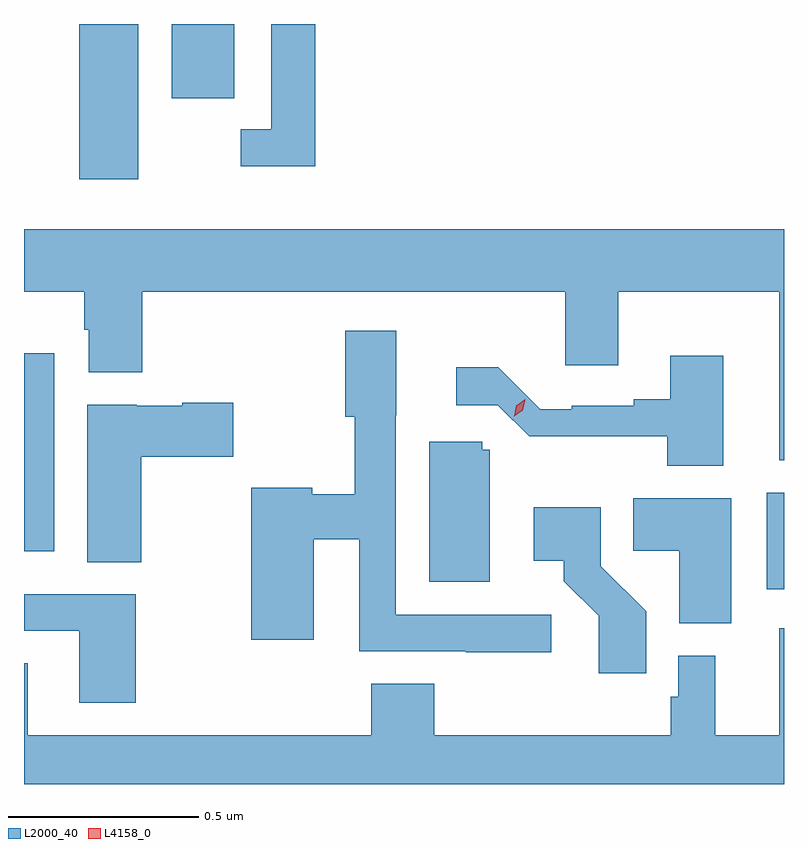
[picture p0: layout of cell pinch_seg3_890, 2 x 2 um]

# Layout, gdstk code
import gdstk
lib = gdstk.Library(unit=1e-6, precision=1e-09)
def R(c, l, rs):  # rectangles x0, y0, x1, y1
    for r in rs: c.add(gdstk.rectangle(r[:2], r[2:], *l))
def P(c, l, *ps):  # polygons
    for p in ps: c.add(gdstk.Polygon(p, *l))
L2000_40 = (2000, 40)
L4158_0 = (4158, 0)

pinch_seg3_890 = lib.new_cell('pinch_seg3_890')
R(pinch_seg3_890, L2000_40, [(661.976,686.813,662.021,687.067), (660.021,686.912,660.1,687.433), (660.167,687.891,660.322,688.3), (660.41,688.104,660.574,688.3)])
P(pinch_seg3_890, L2000_40, [(660.788,688.3),(660.672,688.3),(660.672,688.023),(660.591,688.023),(660.591,687.926),(660.788,687.926)],
  [(662.021,687.76),(660.021,687.76),(660.021,687.596),(660.179,687.596),(660.179,687.495),(660.191,687.495),(660.191,687.383),(660.332,687.383),(660.332,687.596),(661.445,687.596),(661.445,687.402),(661.585,687.402),(661.585,687.596),(662.009,687.596),(662.009,687.152),(662.021,687.152)],
  [(661.408,686.745),(660.999,686.745),(660.999,687.27),(661,687.27),(661,687.493),(660.866,687.493),(660.866,687.266),(660.891,687.266),(660.891,687.062),(660.78,687.062),(660.78,687.08),(660.619,687.08),(660.619,686.679),(660.784,686.679),(660.784,686.944),(660.903,686.944),(660.903,686.649),(661.183,686.649),(661.183,686.647),(661.408,686.647)],
  [(661.861,687.427),(661.721,687.427),(661.721,687.312),(661.625,687.312),(661.625,687.295),(661.462,687.295),(661.462,687.286),(661.379,687.286),(661.269,687.397),(661.158,687.397),(661.158,687.297),(661.268,687.297),(661.351,687.215),(661.714,687.215),(661.714,687.137),(661.861,687.137)],
  [(660.33,687.161),(660.571,687.161),(660.571,687.303),(660.438,687.303),(660.438,687.295),(660.318,687.295),(660.318,687.298),(660.188,687.298),(660.188,686.884),(660.33,686.884)],
  [(661.246,687.18),(661.227,687.18),(661.227,687.201),(661.088,687.201),(661.088,686.832),(661.246,686.832)],
  [(661.882,687.052),(661.624,687.052),(661.624,686.914),(661.745,686.914),(661.745,686.723),(661.882,686.723)],
  [(661.658,686.754),(661.539,686.873),(661.539,687.028),(661.362,687.028),(661.362,686.888),(661.442,686.888),(661.442,686.833),(661.533,686.743),(661.533,686.592),(661.658,686.592)],
  [(660.315,686.799),(660.021,686.799),(660.021,686.703),(660.167,686.703),(660.167,686.514),(660.315,686.514)],
  [(662.021,686.71),(662.009,686.71),(662.009,686.428),(661.84,686.428),(661.84,686.638),(661.743,686.638),(661.743,686.529),(661.723,686.529),(661.723,686.428),(661.1,686.428),(661.1,686.564),(660.935,686.564),(660.935,686.428),(660.031,686.428),(660.031,686.618),(660.021,686.618),(660.021,686.3),(662.021,686.3)])
P(pinch_seg3_890, L4158_0, [(661.311,687.267),(661.311,687.268),(661.317,687.295),(661.34,687.312),(661.34,687.312),(661.34,687.312),(661.334,687.284),(661.311,687.268)])

lib.write_gds('pinch_seg3_890.gds')
